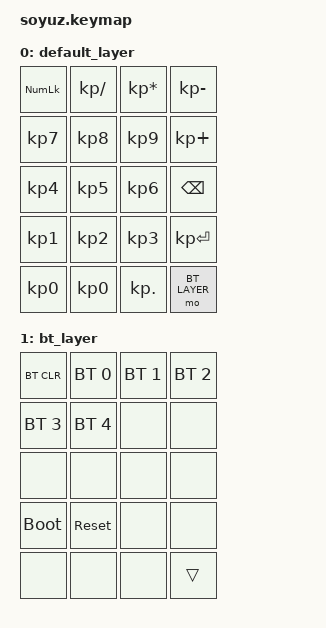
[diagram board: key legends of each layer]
/*
 * Copyright (c) 2024 The ZMK Contributors
 *
 * SPDX-License-Identifier: MIT
 */

#include <behaviors.dtsi>
#include <dt-bindings/zmk/keys.h>
#include <dt-bindings/zmk/bt.h>

#define DEFAULT 0
#define BT_LAYER 1

/ {
    keymap {
        compatible = "zmk,keymap";

        default_layer {
            // Full 5x4 ortholinear layout (20 keys)
            // ---------------------------------
            // | NLCK |  /   |  *   |  -   |
            // |  7   |  8   |  9   |  +   |
            // |  4   |  5   |  6   | BSPC |
            // |  1   |  2   |  3   | ENT  |
            // |  0   |  00  |  .   |  BT  |
            // ---------------------------------
            bindings = <
                &kp KP_NUM    &kp KP_DIVIDE    &kp KP_MULTIPLY  &kp KP_MINUS
                &kp KP_N7     &kp KP_N8        &kp KP_N9        &kp KP_PLUS
                &kp KP_N4     &kp KP_N5        &kp KP_N6        &kp BSPC
                &kp KP_N1     &kp KP_N2        &kp KP_N3        &kp KP_ENTER
                &kp KP_N0     &kp KP_N0        &kp KP_DOT       &mo BT_LAYER
            >;
        };

        bt_layer {
            // ---------------------------------
            // | BTCLR | BT1  | BT2  | BT3  |
            // | BT4   | BT5  |      |      |
            // |       |      |      |      |
            // | BOOT  | RST  |      |      |
            // |       |      |      |      |
            // ---------------------------------
            bindings = <
                &bt BT_CLR    &bt BT_SEL 0     &bt BT_SEL 1     &bt BT_SEL 2
                &bt BT_SEL 3  &bt BT_SEL 4     &none            &none
                &none         &none            &none            &none
                &bootloader   &sys_reset       &none            &none
                &none         &none            &none            &trans
            >;
        };
    };
};
